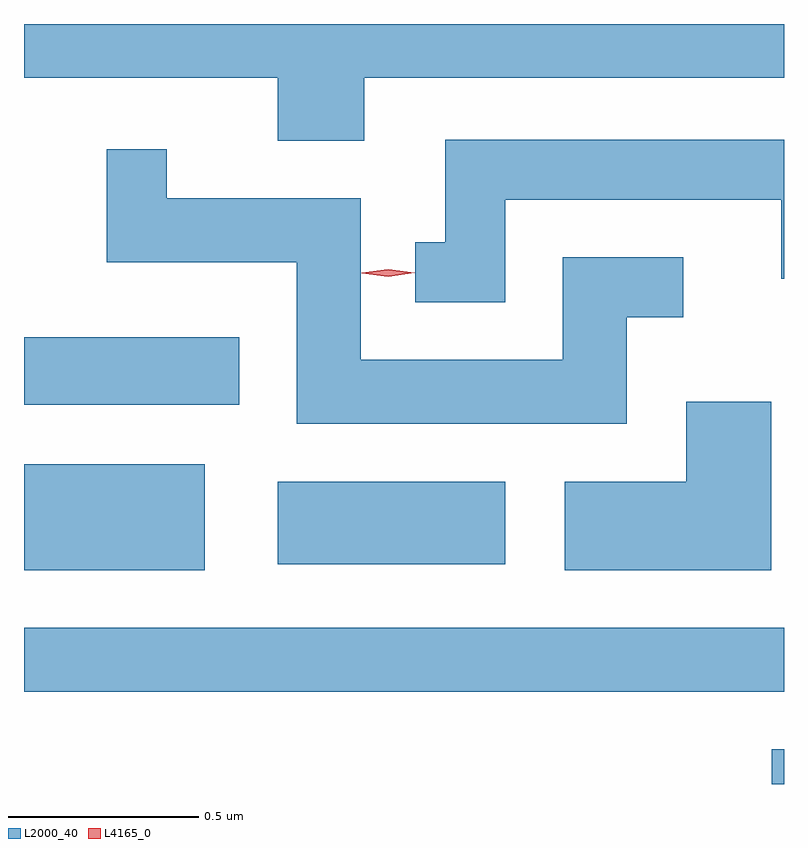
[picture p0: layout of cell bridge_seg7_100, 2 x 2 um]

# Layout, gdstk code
import gdstk
lib = gdstk.Library(unit=1e-6, precision=1e-09)
def R(c, l, rs):  # rectangles x0, y0, x1, y1
    for r in rs: c.add(gdstk.rectangle(r[:2], r[2:], *l))
def P(c, l, *ps):  # polygons
    for p in ps: c.add(gdstk.Polygon(p, *l))
L2000_40 = (2000, 40)
L4165_0 = (4165, 0)

bridge_seg7_100 = lib.new_cell('bridge_seg7_100')
R(bridge_seg7_100, L2000_40, [(1627.361,1747.978,1627.393,1748.069), (1625.393,1748.221,1627.393,1748.389), (1625.393,1748.541,1625.869,1748.819), (1626.061,1748.556,1626.659,1748.774), (1625.393,1748.976,1625.959,1749.154)])
P(bridge_seg7_100, L2000_40, [(1626.289,1749.836),(1627.393,1749.836),(1627.393,1749.978),(1625.393,1749.978),(1625.393,1749.836),(1626.061,1749.836),(1626.061,1749.671),(1626.289,1749.671)],
  [(1626.659,1749.516),(1627.386,1749.516),(1627.386,1749.308),(1627.393,1749.308),(1627.393,1749.674),(1626.501,1749.674),(1626.501,1749.404),(1626.423,1749.404),(1626.423,1749.246),(1626.659,1749.246)],
  [(1626.979,1749.206),(1627.128,1749.206),(1627.128,1749.364),(1626.811,1749.364),(1626.811,1749.094),(1626.279,1749.094),(1626.279,1749.519),(1625.769,1749.519),(1625.769,1749.648),(1625.611,1749.648),(1625.611,1749.351),(1626.111,1749.351),(1626.111,1748.926),(1626.979,1748.926)],
  [(1627.359,1748.984),(1627.136,1748.984),(1627.136,1748.774),(1626.816,1748.774),(1626.816,1748.541),(1627.359,1748.541)])
P(bridge_seg7_100, L4165_0, [(1626.351,1749.313),(1626.282,1749.322),(1626.282,1749.322),(1626.282,1749.323),(1626.351,1749.333),(1626.421,1749.324),(1626.421,1749.323),(1626.421,1749.323)])

lib.write_gds('bridge_seg7_100.gds')
